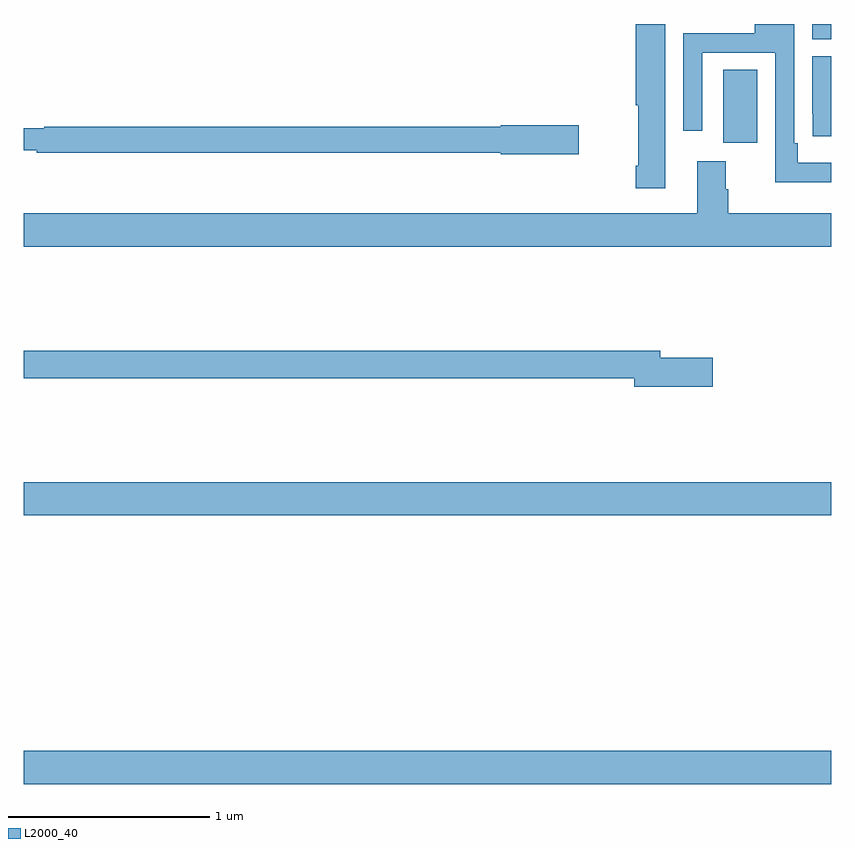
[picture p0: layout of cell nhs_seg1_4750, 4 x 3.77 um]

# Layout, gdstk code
import gdstk
lib = gdstk.Library(unit=1e-6, precision=1e-09)
def R(c, l, rs):  # rectangles x0, y0, x1, y1
    for r in rs: c.add(gdstk.rectangle(r[:2], r[2:], *l))
def P(c, l, *ps):  # polygons
    for p in ps: c.add(gdstk.Polygon(p, *l))
L2000_40 = (2000, 40)

nhs_seg1_4750 = lib.new_cell('nhs_seg1_4750')
R(nhs_seg1_4750, L2000_40, [(369,518.432,373,518.596), (369,519.764,373,519.928), (372.467,521.61,372.634,521.972), (372.908,522.124,373,522.199)])
P(nhs_seg1_4750, L2000_40, [(372.178,522.199),(372.032,522.199),(372.032,521.797),(372.044,521.797),(372.044,521.497),(372.032,521.497),(372.032,521.385),(372.178,521.385)],
  [(373,521.512),(372.835,521.512),(372.835,521.608),(372.819,521.608),(372.819,522.199),(372.623,522.199),(372.623,522.153),(372.267,522.153),(372.267,521.67),(372.363,521.67),(372.363,522.057),(372.723,522.057),(372.723,521.414),(373,521.414)],
  [(373,522.039),(372.908,522.039),(372.908,521.755),(372.909,521.755),(372.909,521.643),(373,521.643)],
  [(371.749,521.696),(371.364,521.696),(371.364,521.69),(369.1,521.69),(369.1,521.683),(369,521.683),(369,521.574),(369.064,521.574),(369.064,521.562),(371.364,521.562),(371.364,521.554),(371.749,521.554)],
  [(373,521.26),(372.491,521.26),(372.491,521.381),(372.478,521.381),(372.478,521.518),(372.338,521.518),(372.338,521.26),(369,521.26),(369,521.096),(373,521.096)],
  [(372.415,520.544),(372.154,520.544),(372.154,520.58),(369,520.58),(369,520.444),(372.026,520.444),(372.026,520.402),(372.415,520.402)])

lib.write_gds('nhs_seg1_4750.gds')
